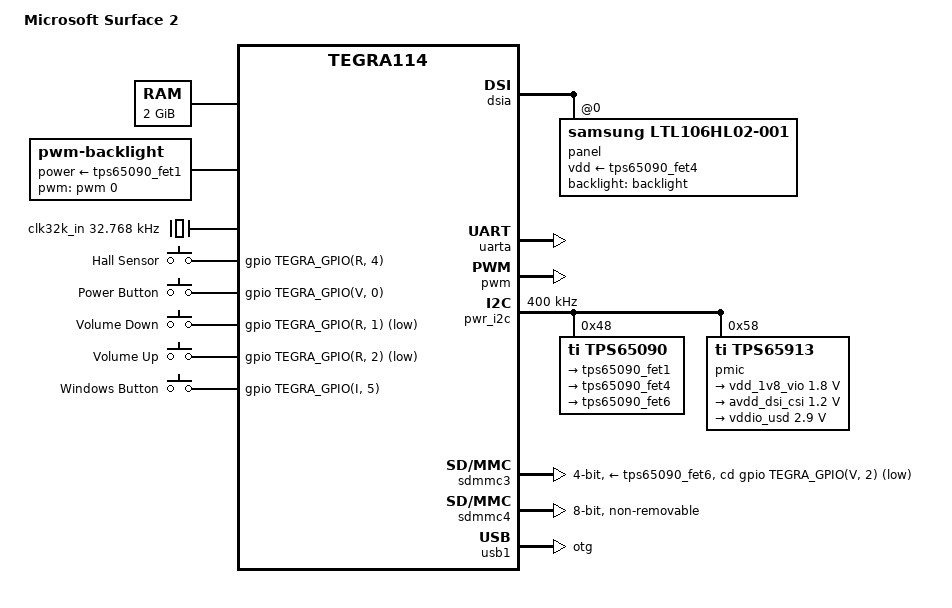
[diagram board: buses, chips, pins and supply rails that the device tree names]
// SPDX-License-Identifier: GPL-2.0

#include <dt-bindings/input/input.h>
#include "tegra114.dtsi"

/ {
	model = "Microsoft Surface 2";
	compatible = "microsoft,surface-2", "nvidia,tegra114";

	chosen {
		stdout-path = &uarta;
	};

	aliases {
		i2c0 = &pwr_i2c;

		mmc0 = &sdmmc4; /* eMMC */
		mmc1 = &sdmmc3; /* uSD slot */

		usb0 = &usb1;
	};

	memory {
		device_type = "memory";
		reg = <0x80000000 0x80000000>;
	};

	host1x@50000000 {
		dsia: dsi@54300000 {
			status = "okay";

			avdd-dsi-csi-supply = <&avdd_dsi_csi>;

			panel@0 {
				compatible = "samsung,ltl106hl02-001";
				reg = <0>;

				vdd-supply = <&tps65090_fet4>;

				backlight = <&backlight>;
			};
		};
	};

	pinmux@70000868 {
		pinctrl-names = "default";
		pinctrl-0 = <&state_default>;

		state_default: pinmux {
			/* ULPI pinmux */
			ulpi-data0 {
				nvidia,pins = "ulpi_data0_po1",
						"ulpi_data3_po4",
						"ulpi_data4_po5";
				nvidia,function = "ulpi";
				nvidia,pull = <TEGRA_PIN_PULL_DOWN>;
				nvidia,tristate = <TEGRA_PIN_ENABLE>;
				nvidia,enable-input = <TEGRA_PIN_DISABLE>;
			};
			ulpi-data1 {
				nvidia,pins = "ulpi_data1_po2";
				nvidia,function = "ulpi";
				nvidia,pull = <TEGRA_PIN_PULL_NONE>;
				nvidia,tristate = <TEGRA_PIN_DISABLE>;
				nvidia,enable-input = <TEGRA_PIN_ENABLE>;
			};
			ulpi-data2 {
				nvidia,pins = "ulpi_data2_po3";
				nvidia,function = "ulpi";
				nvidia,pull = <TEGRA_PIN_PULL_NONE>;
				nvidia,tristate = <TEGRA_PIN_DISABLE>;
				nvidia,enable-input = <TEGRA_PIN_DISABLE>;
			};
			ulpi-data7 {
				nvidia,pins = "ulpi_data7_po0",
						"ulpi_data5_po6",
						"ulpi_data6_po7";
				nvidia,function = "ulpi";
				nvidia,pull = <TEGRA_PIN_PULL_UP>;
				nvidia,tristate = <TEGRA_PIN_DISABLE>;
				nvidia,enable-input = <TEGRA_PIN_ENABLE>;
			};

			/* I2S pinmux */
			dap1-din {
				nvidia,pins = "dap1_fs_pn0",
						"dap1_din_pn1",
						"dap1_sclk_pn3";
				nvidia,function = "i2s0";
				nvidia,pull = <TEGRA_PIN_PULL_NONE>;
				nvidia,tristate = <TEGRA_PIN_DISABLE>;
				nvidia,enable-input = <TEGRA_PIN_ENABLE>;
			};
			dap1-dout {
				nvidia,pins = "dap1_dout_pn2";
				nvidia,function = "i2s0";
				nvidia,pull = <TEGRA_PIN_PULL_NONE>;
				nvidia,tristate = <TEGRA_PIN_DISABLE>;
				nvidia,enable-input = <TEGRA_PIN_DISABLE>;
			};
			dap2-i2s1 {
				nvidia,pins = "dap2_fs_pa2",
						"dap2_sclk_pa3",
						"dap2_din_pa4",
						"dap2_dout_pa5";
				nvidia,function = "i2s1";
				nvidia,pull = <TEGRA_PIN_PULL_NONE>;
				nvidia,tristate = <TEGRA_PIN_DISABLE>;
				nvidia,enable-input = <TEGRA_PIN_ENABLE>;
			};
			dap3-i2s2 {
				nvidia,pins = "dap3_fs_pp0",
						"dap3_din_pp1",
						"dap3_dout_pp2",
						"dap3_sclk_pp3";
				nvidia,function = "i2s2";
				nvidia,pull = <TEGRA_PIN_PULL_DOWN>;
				nvidia,tristate = <TEGRA_PIN_ENABLE>;
				nvidia,enable-input = <TEGRA_PIN_DISABLE>;
			};
			dap4-din {
				nvidia,pins = "dap4_fs_pp4",
						"dap4_din_pp5",
						"dap4_sclk_pp7";
				nvidia,function = "i2s3";
				nvidia,pull = <TEGRA_PIN_PULL_NONE>;
				nvidia,tristate = <TEGRA_PIN_DISABLE>;
				nvidia,enable-input = <TEGRA_PIN_ENABLE>;
			};
			dap4-dout {
				nvidia,pins = "dap4_dout_pp6";
				nvidia,function = "i2s3";
				nvidia,pull = <TEGRA_PIN_PULL_NONE>;
				nvidia,tristate = <TEGRA_PIN_DISABLE>;
				nvidia,enable-input = <TEGRA_PIN_DISABLE>;
			};

			/* SDMMC1 pinmux */
			sdmmc1-wp-clk {
				nvidia,pins = "sdmmc1_wp_n_pv3",
						"sdmmc1_clk_pz0";
				nvidia,function = "sdmmc1";
				nvidia,pull = <TEGRA_PIN_PULL_NONE>;
				nvidia,tristate = <TEGRA_PIN_DISABLE>;
				nvidia,enable-input = <TEGRA_PIN_ENABLE>;
			};
			sdmmc1-cmd {
				nvidia,pins = "sdmmc1_cmd_pz1",
						"sdmmc1_dat3_py4",
						"sdmmc1_dat2_py5",
						"sdmmc1_dat1_py6",
						"sdmmc1_dat0_py7";
				nvidia,function = "sdmmc1";
				nvidia,pull = <TEGRA_PIN_PULL_UP>;
				nvidia,tristate = <TEGRA_PIN_DISABLE>;
				nvidia,enable-input = <TEGRA_PIN_ENABLE>;
			};

			/* SDMMC3 pinmux */
			sdmmc3-clk {
				nvidia,pins = "sdmmc3_clk_pa6";
				nvidia,function = "sdmmc3";
				nvidia,pull = <TEGRA_PIN_PULL_NONE>;
				nvidia,tristate = <TEGRA_PIN_DISABLE>;
				nvidia,enable-input = <TEGRA_PIN_ENABLE>;
			};
			sdmmc3-cmd {
				nvidia,pins = "sdmmc3_cmd_pa7",
						"sdmmc3_dat3_pb4",
						"sdmmc3_dat2_pb5",
						"sdmmc3_dat1_pb6",
						"sdmmc3_dat0_pb7",
						"sdmmc3_cd_n_pv2",
						"sdmmc3_clk_lb_in_pee5";
				nvidia,function = "sdmmc3";
				nvidia,pull = <TEGRA_PIN_PULL_UP>;
				nvidia,tristate = <TEGRA_PIN_DISABLE>;
				nvidia,enable-input = <TEGRA_PIN_ENABLE>;
			};
			sdmmc3-clk-lb-out {
				nvidia,pins = "sdmmc3_clk_lb_out_pee4";
				nvidia,function = "sdmmc3";
				nvidia,pull = <TEGRA_PIN_PULL_NONE>;
				nvidia,tristate = <TEGRA_PIN_DISABLE>;
				nvidia,enable-input = <TEGRA_PIN_DISABLE>;
			};

			/* SDMMC4 pinmux */
			sdmmc4-clk {
				nvidia,pins = "sdmmc4_clk_pcc4";
				nvidia,function = "sdmmc4";
				nvidia,pull = <TEGRA_PIN_PULL_NONE>;
				nvidia,tristate = <TEGRA_PIN_DISABLE>;
				nvidia,enable-input = <TEGRA_PIN_ENABLE>;
			};
			sdmmc4-cmd {
				nvidia,pins = "sdmmc4_cmd_pt7",
						"sdmmc4_dat0_paa0",
						"sdmmc4_dat1_paa1",
						"sdmmc4_dat2_paa2",
						"sdmmc4_dat3_paa3",
						"sdmmc4_dat4_paa4",
						"sdmmc4_dat5_paa5",
						"sdmmc4_dat6_paa6",
						"sdmmc4_dat7_paa7";
				nvidia,function = "sdmmc4";
				nvidia,pull = <TEGRA_PIN_PULL_UP>;
				nvidia,tristate = <TEGRA_PIN_DISABLE>;
				nvidia,enable-input = <TEGRA_PIN_ENABLE>;
			};

			/* HDMI pinmux */
			hdmi-int {
				nvidia,pins = "hdmi_int_pn7";
				nvidia,function = "rsvd1";
				nvidia,pull = <TEGRA_PIN_PULL_NONE>;
				nvidia,tristate = <TEGRA_PIN_DISABLE>;
				nvidia,enable-input = <TEGRA_PIN_ENABLE>;
				nvidia,rcv-sel = <TEGRA_PIN_DISABLE>;
			};
			hdmi-cec {
				nvidia,pins = "hdmi_cec_pee3";
				nvidia,function = "rsvd3";
				nvidia,pull = <TEGRA_PIN_PULL_DOWN>;
				nvidia,tristate = <TEGRA_PIN_ENABLE>;
				nvidia,enable-input = <TEGRA_PIN_DISABLE>;
				nvidia,open-drain = <TEGRA_PIN_ENABLE>;
			};

			/* I2C pinmux */
			gen1-i2c {
				nvidia,pins = "gen1_i2c_scl_pc4",
						"gen1_i2c_sda_pc5";
				nvidia,function = "i2c1";
				nvidia,pull = <TEGRA_PIN_PULL_NONE>;
				nvidia,tristate = <TEGRA_PIN_DISABLE>;
				nvidia,enable-input = <TEGRA_PIN_ENABLE>;
				nvidia,open-drain = <TEGRA_PIN_ENABLE>;
			};
			gen2-i2c {
				nvidia,pins = "gen2_i2c_scl_pt5",
						"gen2_i2c_sda_pt6";
				nvidia,function = "i2c2";
				nvidia,pull = <TEGRA_PIN_PULL_NONE>;
				nvidia,tristate = <TEGRA_PIN_DISABLE>;
				nvidia,enable-input = <TEGRA_PIN_ENABLE>;
				nvidia,open-drain = <TEGRA_PIN_ENABLE>;
			};
			cam-i2c {
				nvidia,pins = "cam_i2c_scl_pbb1",
						"cam_i2c_sda_pbb2";
				nvidia,function = "i2c3";
				nvidia,pull = <TEGRA_PIN_PULL_NONE>;
				nvidia,tristate = <TEGRA_PIN_DISABLE>;
				nvidia,enable-input = <TEGRA_PIN_ENABLE>;
				nvidia,open-drain = <TEGRA_PIN_ENABLE>;
			};
			ddc-scl-pv4 {
				nvidia,pins = "ddc_scl_pv4",
						"ddc_sda_pv5";
				nvidia,function = "i2c4";
				nvidia,pull = <TEGRA_PIN_PULL_NONE>;
				nvidia,tristate = <TEGRA_PIN_DISABLE>;
				nvidia,enable-input = <TEGRA_PIN_ENABLE>;
				nvidia,rcv-sel = <TEGRA_PIN_DISABLE>;
			};
			pwr-i2c {
				nvidia,pins = "pwr_i2c_scl_pz6",
						"pwr_i2c_sda_pz7";
				nvidia,function = "i2cpwr";
				nvidia,pull = <TEGRA_PIN_PULL_NONE>;
				nvidia,tristate = <TEGRA_PIN_DISABLE>;
				nvidia,enable-input = <TEGRA_PIN_ENABLE>;
				nvidia,open-drain = <TEGRA_PIN_ENABLE>;
			};

			/* UARTA pinmux */
			uarta-out {
				nvidia,pins = "pu0", "pu3";
				nvidia,function = "uarta";
				nvidia,pull = <TEGRA_PIN_PULL_NONE>;
				nvidia,tristate = <TEGRA_PIN_DISABLE>;
				nvidia,enable-input = <TEGRA_PIN_DISABLE>;
			};
			uarta-in {
				nvidia,pins = "pu1", "pu2";
				nvidia,function = "uarta";
				nvidia,pull = <TEGRA_PIN_PULL_NONE>;
				nvidia,tristate = <TEGRA_PIN_DISABLE>;
				nvidia,enable-input = <TEGRA_PIN_ENABLE>;
			};

			/* UARTB pinmux */
			uart2-txd-pc2 {
				nvidia,pins = "uart2_txd_pc2";
				nvidia,function = "irda";
				nvidia,pull = <TEGRA_PIN_PULL_NONE>;
				nvidia,tristate = <TEGRA_PIN_DISABLE>;
				nvidia,enable-input = <TEGRA_PIN_DISABLE>;
			};
			uart2-rxd-pc3 {
				nvidia,pins = "uart2_rxd_pc3";
				nvidia,function = "irda";
				nvidia,pull = <TEGRA_PIN_PULL_NONE>;
				nvidia,tristate = <TEGRA_PIN_DISABLE>;
				nvidia,enable-input = <TEGRA_PIN_ENABLE>;
			};
			uart2-cts-n-pj5 {
				nvidia,pins = "uart2_cts_n_pj5",
						"uart2_rts_n_pj6";
				nvidia,function = "rsvd3";
				nvidia,pull = <TEGRA_PIN_PULL_DOWN>;
				nvidia,tristate = <TEGRA_PIN_ENABLE>;
				nvidia,enable-input = <TEGRA_PIN_DISABLE>;
			};

			/* UARTC pinmux */
			uart3-cts-rxd {
				nvidia,pins = "uart3_cts_n_pa1",
						"uart3_rxd_pw7";
				nvidia,function = "uartc";
				nvidia,pull = <TEGRA_PIN_PULL_NONE>;
				nvidia,tristate = <TEGRA_PIN_DISABLE>;
				nvidia,enable-input = <TEGRA_PIN_ENABLE>;
			};
			uart3-rts-txd {
				nvidia,pins = "uart3_rts_n_pc0",
						"uart3_txd_pw6";
				nvidia,function = "uartc";
				nvidia,pull = <TEGRA_PIN_PULL_NONE>;
				nvidia,tristate = <TEGRA_PIN_DISABLE>;
				nvidia,enable-input = <TEGRA_PIN_DISABLE>;
			};

			/* UARTD pinmux */
			uartd-out {
				nvidia,pins = "ulpi_clk_py0",
						"ulpi_stp_py3";
				nvidia,function = "uartd";
				nvidia,pull = <TEGRA_PIN_PULL_NONE>;
				nvidia,tristate = <TEGRA_PIN_DISABLE>;
				nvidia,enable-input = <TEGRA_PIN_DISABLE>;
			};
			uartd-in {
				nvidia,pins = "ulpi_dir_py1",
						"ulpi_nxt_py2";
				nvidia,function = "uartd";
				nvidia,pull = <TEGRA_PIN_PULL_NONE>;
				nvidia,tristate = <TEGRA_PIN_DISABLE>;
				nvidia,enable-input = <TEGRA_PIN_ENABLE>;
			};

			/* GMI section */
			gmi-a17 {
				nvidia,pins = "gmi_a17_pb0",
						"gmi_a18_pb1",
						"gmi_iordy_pi5",
						"kb_col1_pq1",
						"kb_row8_ps0",
						"pbb6";
				nvidia,function = "rsvd2";
				nvidia,pull = <TEGRA_PIN_PULL_NONE>;
				nvidia,tristate = <TEGRA_PIN_DISABLE>;
				nvidia,enable-input = <TEGRA_PIN_ENABLE>;
			};
			gmi-wp-n {
				nvidia,pins = "gmi_wp_n_pc7",
						"gmi_cs0_n_pj0",
						"gpio_x7_aud_px7";
				nvidia,function = "rsvd1";
				nvidia,pull = <TEGRA_PIN_PULL_UP>;
				nvidia,tristate = <TEGRA_PIN_DISABLE>;
				nvidia,enable-input = <TEGRA_PIN_ENABLE>;
			};
			gmi-ad0 {
				nvidia,pins = "gmi_ad0_pg0",
						"gmi_ad1_pg1",
						"gmi_ad2_pg2",
						"gmi_ad3_pg3",
						"gmi_ad4_pg4",
						"gmi_ad5_pg5",
						"gmi_ad6_pg6",
						"gmi_ad7_pg7",
						"gmi_oe_n_pi1",
						"pv1";
				nvidia,function = "rsvd1";
				nvidia,pull = <TEGRA_PIN_PULL_NONE>;
				nvidia,tristate = <TEGRA_PIN_DISABLE>;
				nvidia,enable-input = <TEGRA_PIN_ENABLE>;
			};
			gmi-ad8 {
				nvidia,pins = "gmi_ad8_ph0";
				nvidia,function = "pwm0";
				nvidia,pull = <TEGRA_PIN_PULL_DOWN>;
				nvidia,tristate = <TEGRA_PIN_DISABLE>;
				nvidia,enable-input = <TEGRA_PIN_DISABLE>;
			};
			gmi-ad9 {
				nvidia,pins = "gmi_ad9_ph1",
						"gmi_ad10_ph2",
						"gmi_ad11_ph3",
						"gmi_ad15_ph7",
						"gmi_cs4_n_pk2";
				nvidia,function = "gmi";
				nvidia,pull = <TEGRA_PIN_PULL_DOWN>;
				nvidia,tristate = <TEGRA_PIN_ENABLE>;
				nvidia,enable-input = <TEGRA_PIN_DISABLE>;
			};
			gmi-ad12 {
				nvidia,pins = "gmi_ad12_ph4",
						"gmi_ad13_ph5",
						"gpio_x1_aud_px1",
						"pcc1",
						"clk3_req_pee1",
						"clk1_req_pee2";
				nvidia,function = "rsvd4";
				nvidia,pull = <TEGRA_PIN_PULL_DOWN>;
				nvidia,tristate = <TEGRA_PIN_ENABLE>;
				nvidia,enable-input = <TEGRA_PIN_DISABLE>;
			};
			gmi-ad14 {
				nvidia,pins = "gmi_ad14_ph6",
						"gmi_a16_pj7",
						"gmi_a19_pk7";
				nvidia,function = "gmi";
				nvidia,pull = <TEGRA_PIN_PULL_NONE>;
				nvidia,tristate = <TEGRA_PIN_DISABLE>;
				nvidia,enable-input = <TEGRA_PIN_ENABLE>;
			};
			gmi-wr-n {
				nvidia,pins = "gmi_wr_n_pi0";
				nvidia,function = "spi4";
				nvidia,pull = <TEGRA_PIN_PULL_NONE>;
				nvidia,tristate = <TEGRA_PIN_DISABLE>;
				nvidia,enable-input = <TEGRA_PIN_ENABLE>;
			};
			gmi-cs6-n {
				nvidia,pins = "gmi_cs6_n_pi3",
						"gmi_cs7_n_pi6";
				nvidia,function = "nand";
				nvidia,pull = <TEGRA_PIN_PULL_NONE>;
				nvidia,tristate = <TEGRA_PIN_DISABLE>;
				nvidia,enable-input = <TEGRA_PIN_ENABLE>;
			};
			gmi-rst-n {
				nvidia,pins = "gmi_rst_n_pi4",
						"spdif_out_pk5",
						"spdif_in_pk6",
						"clk2_out_pw5",
						"dvfs_pwm_px0",
						"dvfs_clk_px2",
						"pbb7",
						"pcc2",
						"clk2_req_pcc5";
				nvidia,function = "rsvd4";
				nvidia,pull = <TEGRA_PIN_PULL_NONE>;
				nvidia,tristate = <TEGRA_PIN_DISABLE>;
				nvidia,enable-input = <TEGRA_PIN_DISABLE>;
			};
			gmi-wait {
				nvidia,pins = "gmi_wait_pi7";
				nvidia,function = "nand";
				nvidia,pull = <TEGRA_PIN_PULL_DOWN>;
				nvidia,tristate = <TEGRA_PIN_ENABLE>;
				nvidia,enable-input = <TEGRA_PIN_DISABLE>;
			};
			gmi-cs1-n {
				nvidia,pins = "gmi_cs1_n_pj2";
				nvidia,function = "soc";
				nvidia,pull = <TEGRA_PIN_PULL_NONE>;
				nvidia,tristate = <TEGRA_PIN_DISABLE>;
				nvidia,enable-input = <TEGRA_PIN_ENABLE>;
			};
			gmi-dqs-p {
				nvidia,pins = "gmi_dqs_p_pj3";
				nvidia,function = "sdmmc2";
				nvidia,pull = <TEGRA_PIN_PULL_NONE>;
				nvidia,tristate = <TEGRA_PIN_ENABLE>;
				nvidia,enable-input = <TEGRA_PIN_ENABLE>;
			};
			gmi-adv-n {
				nvidia,pins = "gmi_adv_n_pk0";
				nvidia,function = "rsvd1";
				nvidia,pull = <TEGRA_PIN_PULL_NONE>;
				nvidia,tristate = <TEGRA_PIN_DISABLE>;
				nvidia,enable-input = <TEGRA_PIN_DISABLE>;
			};
			gmi-clk {
				nvidia,pins = "gmi_clk_pk1",
						"gmi_cs2_n_pk3",
						"gmi_cs3_n_pk4";
				nvidia,function = "gmi";
				nvidia,pull = <TEGRA_PIN_PULL_NONE>;
				nvidia,tristate = <TEGRA_PIN_DISABLE>;
				nvidia,enable-input = <TEGRA_PIN_DISABLE>;
			};

			jtag-rtck {
				nvidia,pins = "jtag_rtck";
				nvidia,function = "rtck";
				nvidia,pull = <TEGRA_PIN_PULL_NONE>;
				nvidia,tristate = <TEGRA_PIN_DISABLE>;
				nvidia,enable-input = <TEGRA_PIN_DISABLE>;
			};

			/* KBC pinmux */
			kb-col0 {
				nvidia,pins = "kb_col0_pq0",
						"kb_col3_pq3",
						"kb_col4_pq4",
						"kb_row4_pr4";
				nvidia,function = "kbc";
				nvidia,pull = <TEGRA_PIN_PULL_NONE>;
				nvidia,tristate = <TEGRA_PIN_DISABLE>;
				nvidia,enable-input = <TEGRA_PIN_ENABLE>;
			};
			kb-col2 {
				nvidia,pins = "kb_col2_pq2",
						"kb_col6_pq6",
						"kb_col7_pq7",
						"kb_row0_pr0",
						"kb_row2_pr2",
						"pv0",
						"sys_clk_req_pz5";
				nvidia,function = "rsvd4";
				nvidia,pull = <TEGRA_PIN_PULL_NONE>;
				nvidia,tristate = <TEGRA_PIN_DISABLE>;
				nvidia,enable-input = <TEGRA_PIN_ENABLE>;
			};
			kb-col5 {
				nvidia,pins = "kb_col5_pq5",
						"kb_row5_pr5";
				nvidia,function = "kbc";
				nvidia,pull = <TEGRA_PIN_PULL_UP>;
				nvidia,tristate = <TEGRA_PIN_DISABLE>;
				nvidia,enable-input = <TEGRA_PIN_ENABLE>;
			};
			kb-row1 {
				nvidia,pins = "kb_row1_pr1";
				nvidia,function = "kbc";
				nvidia,pull = <TEGRA_PIN_PULL_NONE>;
				nvidia,tristate = <TEGRA_PIN_ENABLE>;
				nvidia,enable-input = <TEGRA_PIN_ENABLE>;
			};
			kb-row3 {
				nvidia,pins = "kb_row3_pr3",
						"kb_row9_ps1";
				nvidia,function = "rsvd3";
				nvidia,pull = <TEGRA_PIN_PULL_NONE>;
				nvidia,tristate = <TEGRA_PIN_DISABLE>;
				nvidia,enable-input = <TEGRA_PIN_DISABLE>;
			};
			kb-row6 {
				nvidia,pins = "kb_row6_pr6";
				nvidia,function = "kbc";
				nvidia,pull = <TEGRA_PIN_PULL_NONE>;
				nvidia,tristate = <TEGRA_PIN_DISABLE>;
				nvidia,enable-input = <TEGRA_PIN_DISABLE>;
			};
			kb-row7 {
				nvidia,pins = "kb_row7_pr7",
						"pbb3",
						"pbb4",
						"pbb5";
				nvidia,function = "rsvd2";
				nvidia,pull = <TEGRA_PIN_PULL_NONE>;
				nvidia,tristate = <TEGRA_PIN_DISABLE>;
				nvidia,enable-input = <TEGRA_PIN_DISABLE>;
			};
			kb-row10 {
				nvidia,pins = "kb_row10_ps2";
				nvidia,function = "rsvd3";
				nvidia,pull = <TEGRA_PIN_PULL_NONE>;
				nvidia,tristate = <TEGRA_PIN_DISABLE>;
				nvidia,enable-input = <TEGRA_PIN_ENABLE>;
			};

			/* CORE pinmux */
			clk-32k-out {
				nvidia,pins = "clk_32k_out_pa0";
				nvidia,function = "blink";
				nvidia,pull = <TEGRA_PIN_PULL_NONE>;
				nvidia,tristate = <TEGRA_PIN_DISABLE>;
				nvidia,enable-input = <TEGRA_PIN_DISABLE>;
			};
			clk-32k-in {
				nvidia,pins = "clk_32k_in";
				nvidia,function = "clk";
				nvidia,pull = <TEGRA_PIN_PULL_NONE>;
				nvidia,tristate = <TEGRA_PIN_DISABLE>;
				nvidia,enable-input = <TEGRA_PIN_ENABLE>;
			};
			core-pwr-req {
				nvidia,pins = "core_pwr_req";
				nvidia,function = "pwron";
				nvidia,pull = <TEGRA_PIN_PULL_NONE>;
				nvidia,tristate = <TEGRA_PIN_DISABLE>;
				nvidia,enable-input = <TEGRA_PIN_DISABLE>;
			};
			cpu-pwr-req {
				nvidia,pins = "cpu_pwr_req";
				nvidia,function = "cpu";
				nvidia,pull = <TEGRA_PIN_PULL_NONE>;
				nvidia,tristate = <TEGRA_PIN_DISABLE>;
				nvidia,enable-input = <TEGRA_PIN_DISABLE>;
			};
			pwr-int-n {
				nvidia,pins = "pwr_int_n";
				nvidia,function = "pmi";
				nvidia,pull = <TEGRA_PIN_PULL_NONE>;
				nvidia,tristate = <TEGRA_PIN_DISABLE>;
				nvidia,enable-input = <TEGRA_PIN_ENABLE>;
			};
			owr {
				nvidia,pins = "owr";
				nvidia,function = "rsvd4";
				nvidia,pull = <TEGRA_PIN_PULL_DOWN>;
				nvidia,tristate = <TEGRA_PIN_ENABLE>;
				nvidia,enable-input = <TEGRA_PIN_DISABLE>;
				nvidia,rcv-sel = <TEGRA_PIN_DISABLE>;
			};
			reset-out-n {
				nvidia,pins = "reset_out_n";
				nvidia,function = "reset_out_n";
				nvidia,pull = <TEGRA_PIN_PULL_NONE>;
				nvidia,tristate = <TEGRA_PIN_DISABLE>;
				nvidia,enable-input = <TEGRA_PIN_DISABLE>;
			};

			/* AUD pinmux */
			gpio-w2-aud {
				nvidia,pins = "gpio_w2_aud_pw2";
				nvidia,function = "rsvd2";
				nvidia,pull = <TEGRA_PIN_PULL_UP>;
				nvidia,tristate = <TEGRA_PIN_DISABLE>;
				nvidia,enable-input = <TEGRA_PIN_ENABLE>;
			};
			gpio-w3-aud {
				nvidia,pins = "gpio_w3_aud_pw3";
				nvidia,function = "spi6";
				nvidia,pull = <TEGRA_PIN_PULL_UP>;
				nvidia,tristate = <TEGRA_PIN_DISABLE>;
				nvidia,enable-input = <TEGRA_PIN_ENABLE>;
			};
			gpio-x3-aud {
				nvidia,pins = "gpio_x3_aud_px3";
				nvidia,function = "rsvd4";
				nvidia,pull = <TEGRA_PIN_PULL_UP>;
				nvidia,tristate = <TEGRA_PIN_DISABLE>;
				nvidia,enable-input = <TEGRA_PIN_ENABLE>;
			};
			gpio-x4-aud {
				nvidia,pins = "gpio_x4_aud_px4";
				nvidia,function = "rsvd1";
				nvidia,pull = <TEGRA_PIN_PULL_DOWN>;
				nvidia,tristate = <TEGRA_PIN_ENABLE>;
				nvidia,enable-input = <TEGRA_PIN_DISABLE>;
			};
			gpio-x5-aud {
				nvidia,pins = "gpio_x5_aud_px5";
				nvidia,function = "rsvd1";
				nvidia,pull = <TEGRA_PIN_PULL_NONE>;
				nvidia,tristate = <TEGRA_PIN_ENABLE>;
				nvidia,enable-input = <TEGRA_PIN_ENABLE>;
			};
			gpio-x6-aud {
				nvidia,pins = "gpio_x6_aud_px6";
				nvidia,function = "spi6";
				nvidia,pull = <TEGRA_PIN_PULL_NONE>;
				nvidia,tristate = <TEGRA_PIN_DISABLE>;
				nvidia,enable-input = <TEGRA_PIN_DISABLE>;
			};

			pu4 {
				nvidia,pins = "pu4";
				nvidia,function = "pwm1";
				nvidia,pull = <TEGRA_PIN_PULL_NONE>;
				nvidia,tristate = <TEGRA_PIN_DISABLE>;
				nvidia,enable-input = <TEGRA_PIN_DISABLE>;
			};
			pu5 {
				nvidia,pins = "pu5";
				nvidia,function = "pwm2";
				nvidia,pull = <TEGRA_PIN_PULL_NONE>;
				nvidia,tristate = <TEGRA_PIN_DISABLE>;
				nvidia,enable-input = <TEGRA_PIN_ENABLE>;
			};
			pu6 {
				nvidia,pins = "pu6";
				nvidia,function = "pwm3";
				nvidia,pull = <TEGRA_PIN_PULL_NONE>;
				nvidia,tristate = <TEGRA_PIN_DISABLE>;
				nvidia,enable-input = <TEGRA_PIN_ENABLE>;
			};
			pbb0 {
				nvidia,pins = "pbb0",
						"cam_mclk_pcc0";
				nvidia,function = "vi_alt1";
				nvidia,pull = <TEGRA_PIN_PULL_NONE>;
				nvidia,tristate = <TEGRA_PIN_DISABLE>;
				nvidia,enable-input = <TEGRA_PIN_DISABLE>;
			};

			clk1-out {
				nvidia,pins = "clk1_out_pw4";
				nvidia,function = "extperiph1";
				nvidia,pull = <TEGRA_PIN_PULL_NONE>;
				nvidia,tristate = <TEGRA_PIN_DISABLE>;
				nvidia,enable-input = <TEGRA_PIN_ENABLE>;
			};
			clk3-out {
				nvidia,pins = "clk3_out_pee0";
				nvidia,function = "extperiph3";
				nvidia,pull = <TEGRA_PIN_PULL_NONE>;
				nvidia,tristate = <TEGRA_PIN_DISABLE>;
				nvidia,enable-input = <TEGRA_PIN_DISABLE>;
			};

			/* USB pinmux */
			usb-vbus-en0 {
				nvidia,pins = "usb_vbus_en0_pn4";
				nvidia,function = "rsvd4";
				nvidia,pull = <TEGRA_PIN_PULL_NONE>;
				nvidia,tristate = <TEGRA_PIN_DISABLE>;
				nvidia,enable-input = <TEGRA_PIN_DISABLE>;
				nvidia,open-drain = <TEGRA_PIN_ENABLE>;
			};
			usb-vbus-en1 {
				nvidia,pins = "usb_vbus_en1_pn5";
				nvidia,function = "rsvd4";
				nvidia,pull = <TEGRA_PIN_PULL_DOWN>;
				nvidia,tristate = <TEGRA_PIN_ENABLE>;
				nvidia,enable-input = <TEGRA_PIN_DISABLE>;
				nvidia,open-drain = <TEGRA_PIN_ENABLE>;
			};
		};
	};

	uarta: serial@70006000 {
		status = "okay";
	};

	pwm: pwm@7000a000 {
		status = "okay";
	};

	pwr_i2c: i2c@7000d000 {
		status = "okay";
		clock-frequency = <400000>;

		/* Texas Instruments TPS65090 PMIC */
		tps65090@48 {
			compatible = "ti,tps65090";
			reg = <0x48>;

			regulators {
				tps65090_fet1: fet1 {
					regulator-name = "vcd_led";
					regulator-boot-on;
				};

				tps65090_fet4: fet4 {
					regulator-name = "vdd_lcd";
					regulator-boot-on;
				};

				tps65090_fet6: fet6 {
					regulator-name = "vdd_usd";
					regulator-boot-on;
				};
			};
		};

		/* Texas Instruments TPS65913 PMIC */
		pmic: tps65913@58 {
			compatible = "ti,tps65913";
			reg = <0x58>;

			interrupts = <GIC_SPI 86 IRQ_TYPE_LEVEL_HIGH>;
			#interrupt-cells = <2>;
			interrupt-controller;

			ti,system-power-controller;

			pmic {
				compatible = "ti,tps65913-pmic";

				regulators {
					vdd_1v8_vio: smps8 {
						regulator-name = "vdd_1v8";
						regulator-min-microvolt = <1800000>;
						regulator-max-microvolt = <1800000>;
						regulator-always-on;
						regulator-boot-on;
						regulator-ramp-delay = <5000>;
					};

					avdd_dsi_csi: ldo3 {
						regulator-name = "avdd_dsi_csi";
						regulator-min-microvolt = <1200000>;
						regulator-max-microvolt = <1200000>;
						regulator-boot-on;
					};

					vddio_usd: ldo9 {
						regulator-name = "vddio_usd";
						regulator-min-microvolt = <2900000>;
						regulator-max-microvolt = <2900000>;
						regulator-always-on;
						regulator-boot-on;
					};
				};
			};
		};
	};

	sdmmc3: sdhci@78000400 {
		status = "okay";
		bus-width = <4>;

		cd-gpios = <&gpio TEGRA_GPIO(V, 2) GPIO_ACTIVE_LOW>;

		nvidia,default-tap = <0x3>;
		nvidia,default-trim = <0x3>;

		vmmc-supply = <&tps65090_fet6>;
		vqmmc-supply = <&vddio_usd>;
	};

	sdmmc4: sdhci@78000600 {
		status = "okay";
		bus-width = <8>;
		non-removable;
	};

	usb1: usb@7d000000 {
		status = "okay";
		dr_mode = "otg";
		nvidia,vbus-gpio = <&gpio TEGRA_GPIO(K, 1) GPIO_ACTIVE_HIGH>;
	};

	usb-phy@7d000000 {
		status = "okay";

		nvidia,xcvr-setup = <7>;
		nvidia,xcvr-lsfslew = <2>;
		nvidia,xcvr-lsrslew = <2>;
	};

	backlight: backlight {
		compatible = "pwm-backlight";

		power-supply = <&tps65090_fet1>;
		pwms = <&pwm 0 1000000>;

		brightness-levels = <1 35 70 105 140 175 210 255>;
		default-brightness-level = <5>;
	};

	/* PMIC has a built-in 32KHz oscillator which is used by PMC */
	clk32k_in: clock-32k {
		compatible = "fixed-clock";
		#clock-cells = <0>;
		clock-frequency = <32768>;
		clock-output-names = "pmic-oscillator";
	};

	extcon-keys {
		compatible = "gpio-keys";

		switch-hall-sensor {
			label = "Hall Sensor";
			gpios = <&gpio TEGRA_GPIO(R, 4) GPIO_ACTIVE_HIGH>;
			linux,code = <SW_LID>;
		};
	};

	gpio-keys {
		compatible = "gpio-keys";

		key-power {
			label = "Power Button";
			gpios = <&gpio TEGRA_GPIO(V, 0) GPIO_ACTIVE_HIGH>;
			linux,code = <KEY_ENTER>;
		};

		key-volume-down {
			label = "Volume Down";
			gpios = <&gpio TEGRA_GPIO(R, 1) GPIO_ACTIVE_LOW>;
			linux,code = <KEY_DOWN>;
		};

		key-volume-up {
			label = "Volume Up";
			gpios = <&gpio TEGRA_GPIO(R, 2) GPIO_ACTIVE_LOW>;
			linux,code = <KEY_UP>;
		};

		key-windows {
			label = "Windows Button";
			gpios = <&gpio TEGRA_GPIO(I, 5) GPIO_ACTIVE_HIGH>;
			linux,code = <KEY_ENTER>;
		};
	};
};
